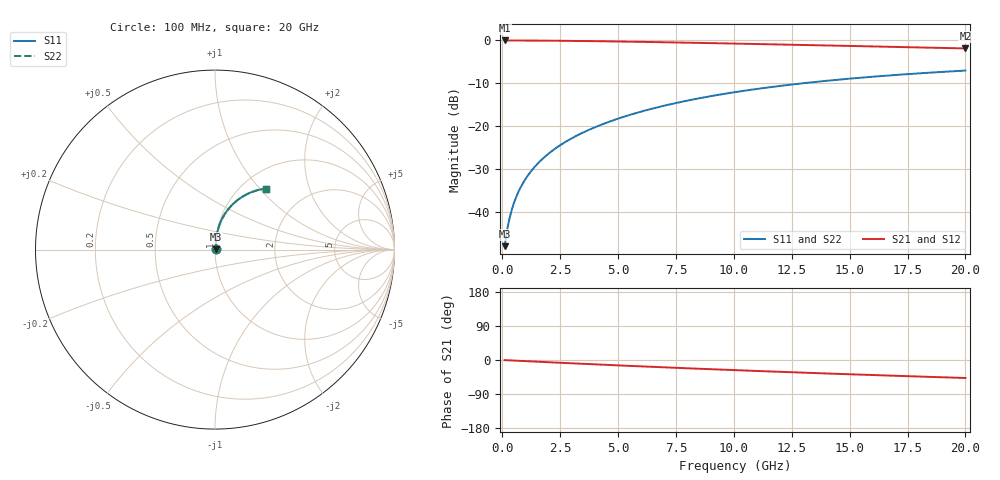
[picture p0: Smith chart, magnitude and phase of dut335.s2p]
! Touchstone file exported from HFSS 2024.1.0
!  File:  C:/UserFiles/LocalFiles/RDL_TSV_Batchsim/temp_RDL_bottom_335_1779611672.aedt
!  Generated:  04:37:18 PM May 24, 2026
!  Design:  RDL_bottom
!  Project:  temp_RDL_bottom_335_1779611672
!  Setup:  Setup1
!  Solution:  Sweep
! Variables:
!  dtsv = 10.80580581um
!  hbump = 3um
!  htsv = 64.08um
!  ldown = 646.31um
!  lrdl = 100um
!  p = 40
!  p1 = 58.78um
!  rhole = 1um
!  t = 450um
!  tdown = 3.64um
!  trdl = 3.915915916um
!  wdown = 21.82um
!  wrdl = 20um
# GHz S MA R 50.000000
! Terminal data exported
! Port[1] = RDL1_T1
! Port[2] = RDL1_T2
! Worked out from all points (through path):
!   200 points, 100 MHz to 20 GHz, reference 50 ohm
!   highest |S21| = -0.03 dB at 100 MHz (marker M1); lowest = -1.9 dB at 20 GHz (marker M2)
!   group delay of S21, straight-line fit = 6.55 ps
!   lowest |S11| = -48.0 dB at 100 MHz (marker M3), VSWR 1.01, Z = 50.3 + j0.258 ohm
!   |S11| at or under -10 dB: start of sweep to 12.99 GHz
!   |S22| runs from -48.0 to -7.0 dB; largest |S21 - S12| = 3.7e-14
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0.1  0.003996 39.8  0.9969 -0.3  0.9969 -0.3  0.003996 39.8
! Gamma 0 0 0 0
! Port Impedance 50 0 50 0
0.2  0.005981 57.5  0.9968 -0.6  0.9968 -0.6  0.005981 57.5
0.3  0.008176 65.6  0.9966 -0.9  0.9966 -0.9  0.008176 65.6
0.4  0.01041 70.2  0.9963 -1.2  0.9963 -1.2  0.01041 70.2
0.5  0.01267 73.3  0.9962 -1.5  0.9962 -1.5  0.01267 73.3
0.6  0.01495 75.5  0.996 -1.8  0.996 -1.8  0.01495 75.5
0.8  0.01954 78.3  0.9955 -2.4  0.9955 -2.4  0.01954 78.3
1.1  0.02652 80.7  0.9948 -3.3  0.9948 -3.3  0.02652 80.7
1.5  0.03595 82.3  0.9935 -4.4  0.9935 -4.4  0.03595 82.3
1.8  0.04309 82.9  0.9923 -5.3  0.9923 -5.3  0.04309 82.9
2.1  0.05029 83.2  0.9909 -6.2  0.9909 -6.2  0.05029 83.2
2.7  0.06484 83.3  0.9876 -7.9  0.9876 -7.9  0.06484 83.3
3.5  0.08456 82.8  0.9823 -10.1  0.9823 -10.1  0.08456 82.8
4.2  0.1021 82.0  0.9768 -12.1  0.9768 -12.1  0.1021 82.0
5  0.1223 80.9  0.9698 -14.2  0.9698 -14.2  0.1223 80.9
5.9  0.1453 79.4  0.9613 -16.6  0.9613 -16.6  0.1453 79.3
6.8  0.1683 77.6  0.9522 -18.9  0.9522 -18.9  0.1683 77.6
8.4  0.2087 74.3  0.9352 -22.9  0.9352 -22.9  0.2087 74.3
10.1  0.2503 70.6  0.9163 -26.9  0.9163 -26.9  0.2503 70.6
13.4  0.325 63.3  0.8787 -34.3  0.8787 -34.3  0.3249 63.3
16.7  0.3898 56.4  0.8412 -41.1  0.8412 -41.1  0.3897 56.4
20  0.4444 50.0  0.8049 -47.5  0.8049 -47.5  0.4443 50.0
